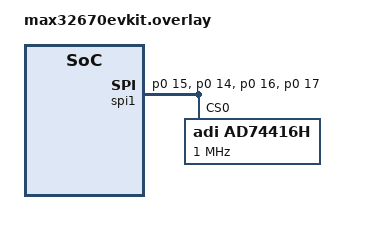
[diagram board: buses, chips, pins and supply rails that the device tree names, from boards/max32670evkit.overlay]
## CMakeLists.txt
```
# Minimum CMake version
cmake_minimum_required(VERSION 3.20.0)

# Add additional modules 
set(ZEPHYR_EXTRA_MODULES "${CMAKE_SOURCE_DIR}/../../modules/ad74416h")

# Locate the Zephyr RTOS source 
find_package(Zephyr REQUIRED HINTS $ENV{ZEPHYR_BASE})

# Name the project
project(ReadID_ad74416h_Rev1)

# Locate the source code for the application
target_sources(app PRIVATE src/main.c)
```

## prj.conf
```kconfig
CONFIG_GPIO=y
CONFIG_SENSOR=y
CONFIG_SPI=y
CONFIG_AD74416H=y
CONFIG_LOG=y
CONFIG_LOG_DEFAULT_LEVEL=4
CONFIG_CRC=y
```

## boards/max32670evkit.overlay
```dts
// Create an alias for our AD74416H board
/ {
    aliases{
        my-ad74416h = &ad74416h;
    };
};


// Enable SPI1 and add AD74416H device
&spi1 {
	status = "okay";
	pinctrl-0 = <&spi1_mosi_p0_15 &spi1_miso_p0_14 &spi1_sck_p0_16 &spi1_ss0_p0_17>;
	pinctrl-names = "default";

	ad74416h: ad74416h@0{
		compatible = "adi,ad74416h";
		reg = <0x0>;
		spi-max-frequency = <1000000>;
		status = "okay";
        dev_addr = <0>;
			
	};
};
```

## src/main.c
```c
#include <zephyr/kernel.h>
#include <zephyr/device.h>
#include <zephyr/drivers/sensor.h>
#include <stdio.h>

int main(void)
{
    const struct device *const ad744 = DEVICE_DT_GET(DT_ALIAS(my_ad74416h));
    int ret;

    if (ad744 == NULL) {
        printf ("AD74416H not found \n");
        return 0;
    }
    printf ("AD74416H is found\n");

    if (!device_is_ready(ad744)) {
        printf("Device %s is not ready\n", ad744->name);
        return 0;
    }

    // while(1){
        printf("inside while loop\n");
        // ret = ad74416h_reg_write(dev, AD74416H_SCRATCH(0), test_val);
        // if (ret)
            return ret;
    // }

    return 0;
}
```
